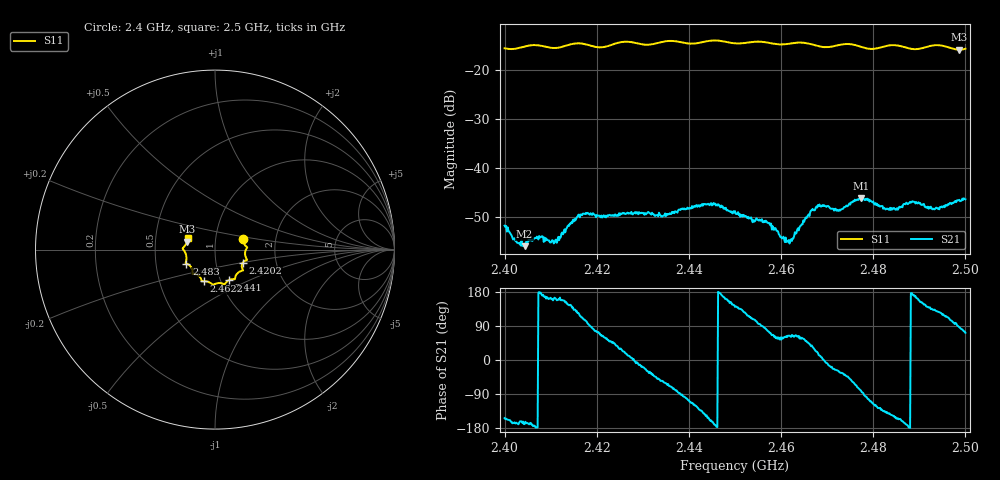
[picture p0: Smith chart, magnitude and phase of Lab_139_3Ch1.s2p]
# Hz S RI R 50
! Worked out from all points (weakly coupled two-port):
!   601 points, 2.4 GHz to 2.5 GHz, reference 50 ohm
!   highest |S21| = -46.11 dB at 2.4773 GHz (marker M1); lowest = -55.9 dB at 2.4043 GHz (marker M2)
!   lowest |S11| = -15.8 dB at 2.4987 GHz (marker M3), VSWR 1.39, Z = 36.4 + j3.32 ohm
!   |S11| at or under -10 dB: start of sweep to end of sweep
!   S12 and S22 are empty: the file has one direction only
!   S11 on the Smith chart (normalised r, x): 2.4 GHz: 1.36, +0.17; 2.4202 GHz: 1.35, -0.20; 2.441 GHz: 1.09, -0.39; 2.4622 GHz: 0.83, -0.30; 2.483 GHz: 0.72, -0.12; 2.5 GHz: 0.73, +0.09
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2.4e9  0.1559 0.0601  -0.00232 -0.00116  0 0  0 0
2.404333e9  0.1734 0.0181  -0.00157 -0.000303  0 0  0 0
2.407833e9  0.1775 0.00908  -0.00197 7.46e-05  0 0  0 0
2.411e9  0.1674 -0.0189  -0.00177 0.000538  0 0  0 0
2.416667e9  0.1778 -0.0582  -0.00129 0.00311  0 0  0 0
2.420167e9  0.1557 -0.0719  0.000945 0.00315  0 0  0 0
2.433333e9  0.113 -0.1526  0.00213 -0.00244  0 0  0 0
2.441e9  0.0767 -0.1704  -0.0019 -0.00358  0 0  0 0
2.445833e9  0.0523 -0.1941  -0.00415 -0.000475  0 0  0 0
2.45e9  0.0263 -0.1861  -0.0028 0.00234  0 0  0 0
2.457e9  -0.0184 -0.1906  0.000568 0.00272  0 0  0 0
2.462167e9  -0.0633 -0.1766  0.000916 0.00165  0 0  0 0
2.466667e9  -0.0764 -0.1668  0.00292 0.00231  0 0  0 0
2.4685e9  -0.0843 -0.1524  0.00404 0.000752  0 0  0 0
2.472833e9  -0.1201 -0.1362  0.0031 -0.00203  0 0  0 0
2.477333e9  -0.1248 -0.1199  0.000791 -0.00489  0 0  0 0
2.483e9  -0.1593 -0.0781  -0.00284 -0.00258  0 0  0 0
2.483333e9  -0.1611 -0.0774  -0.00296 -0.00236  0 0  0 0
2.4885e9  -0.1594 -0.0413  -0.00457 0.000499  0 0  0 0
2.493833e9  -0.18 0.0061  -0.00244 0.00307  0 0  0 0
2.498667e9  -0.1557 0.0444  0.000271 0.00476  0 0  0 0
2.5e9  -0.1529 0.0632  0.00149 0.00458  0 0  0 0
